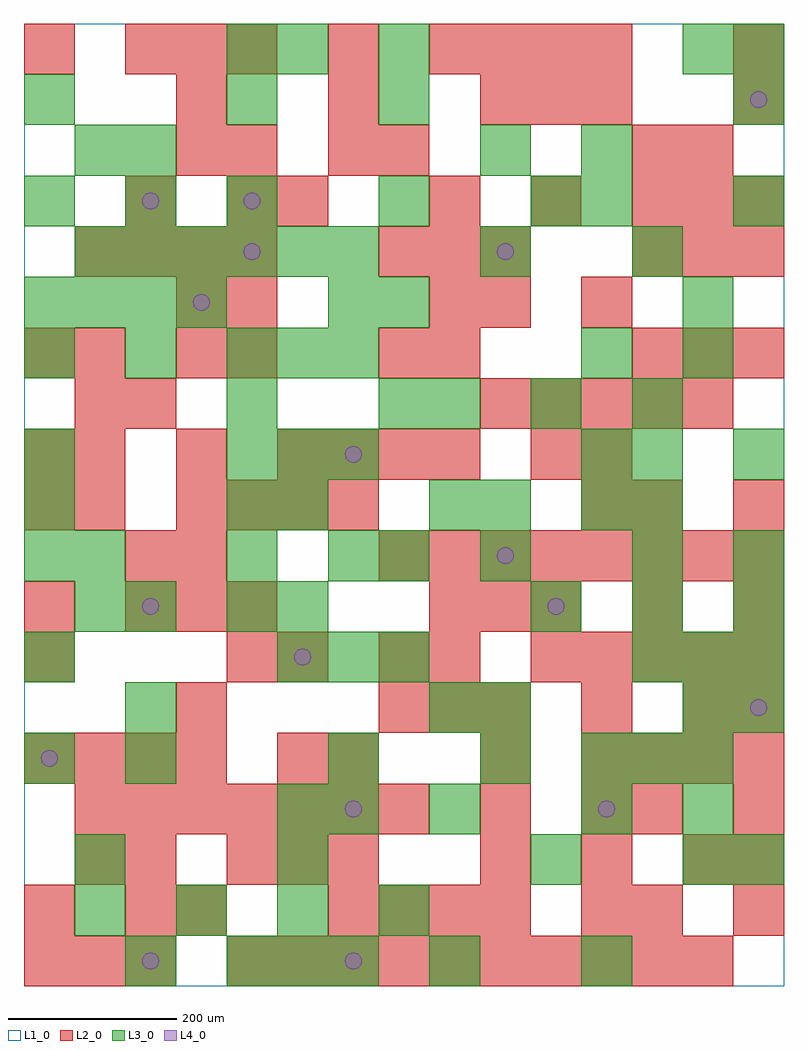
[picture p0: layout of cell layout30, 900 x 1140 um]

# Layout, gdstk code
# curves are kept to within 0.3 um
import gdstk
lib = gdstk.Library(unit=1e-6, precision=1e-09)
def R(c, l, rs):  # rectangles x0, y0, x1, y1
    for r in rs: c.add(gdstk.rectangle(r[:2], r[2:], *l))
def A(c, l, x, y, w, h, nx, ny, dx, dy):  # array of equal rectangles
    R(c, l, [(x+i*dx, y+j*dy, x+i*dx+w, y+j*dy+h) for i in range(nx) for j in range(ny)])
def P(c, l, *ps):  # polygons
    for p in ps: c.add(gdstk.Polygon(p, *l))
L1_0 = (1, 0)
L2_0 = (2, 0)
L3_0 = (3, 0)
L4_0 = (4, 0)

layout30 = lib.new_cell('layout30')
R(layout30, L1_0, [(0,0,900,1140)])
A(layout30, L2_0, 0, 0, 60, 60, 3, 1, 60, 0)
A(layout30, L2_0, 240, 0, 60, 60, 10, 1, 60, 0)
A(layout30, L2_0, 360, 60, 60, 60, 4, 1, 60, 0)
A(layout30, L2_0, 660, 60, 60, 60, 1, 3, 0, 120)
A(layout30, L2_0, 840, 60, 60, 60, 1, 3, 0, 60)
A(layout30, L2_0, 240, 120, 60, 60, 3, 1, 60, 0)
A(layout30, L2_0, 540, 120, 60, 60, 3, 1, 120, 0)
A(layout30, L2_0, 60, 180, 60, 60, 7, 1, 60, 0)
A(layout30, L2_0, 0, 240, 60, 60, 4, 1, 60, 0)
A(layout30, L2_0, 660, 240, 60, 60, 4, 1, 60, 0)
A(layout30, L2_0, 420, 300, 60, 60, 3, 2, 60, 540)
A(layout30, L2_0, 840, 300, 60, 60, 1, 3, 0, 120)
A(layout30, L2_0, 600, 360, 60, 60, 5, 1, 60, 0)
A(layout30, L2_0, 120, 420, 60, 60, 3, 2, 60, 660)
A(layout30, L2_0, 480, 420, 60, 60, 3, 1, 60, 0)
A(layout30, L2_0, 420, 480, 60, 60, 8, 1, 60, 0)
A(layout30, L2_0, 180, 540, 60, 60, 4, 1, 60, 0)
A(layout30, L2_0, 60, 600, 60, 60, 3, 1, 120, 0)
A(layout30, L2_0, 360, 600, 60, 60, 3, 1, 60, 0)
A(layout30, L2_0, 540, 660, 60, 60, 5, 1, 60, 0)
A(layout30, L2_0, 720, 720, 60, 60, 3, 2, 60, 120)
A(layout30, L2_0, 60, 840, 60, 60, 4, 1, 60, 0)
A(layout30, L2_0, 480, 900, 60, 60, 3, 1, 120, 0)
A(layout30, L2_0, 180, 1020, 60, 60, 3, 1, 180, 0)
A(layout30, L2_0, 480, 1080, 60, 60, 4, 1, 60, 0)
R(layout30, L2_0, [(0,60,60,120), (120,60,180,120), (180,60,240,120), (720,60,780,120), (60,120,120,180), (120,120,180,180), (540,180,600,240), (720,180,780,240), (300,240,360,300), (360,240,420,300), (540,240,600,300), (180,300,240,360), (780,300,840,360), (0,360,60,420), (240,360,300,420), (300,360,360,420), (420,360,480,420), (480,360,540,420), (0,420,60,480), (720,420,780,480), (120,480,180,540), (180,480,240,540), (0,540,60,600), (60,540,120,600), (660,540,720,600), (720,540,780,600), (0,600,60,660), (600,600,660,660), (660,600,720,660), (60,660,120,720), (120,660,180,720), (0,720,60,780), (60,720,120,780), (180,720,240,780), (240,720,300,780), (420,720,480,780), (480,720,540,780), (180,780,240,840), (240,780,300,840), (480,780,540,840), (540,780,600,840), (660,780,720,840), (120,900,180,960), (240,900,300,960), (300,900,360,960), (780,900,840,960), (840,900,900,960), (180,960,240,1020), (240,960,300,1020), (360,960,420,1020), (420,960,480,1020), (720,960,780,1020), (780,960,840,1020), (600,1020,660,1080), (660,1020,720,1080), (840,1020,900,1080), (0,1080,60,1140), (360,1080,420,1140), (840,1080,900,1140)])
A(layout30, L3_0, 240, 0, 60, 60, 3, 2, 60, 600)
A(layout30, L3_0, 60, 60, 60, 60, 4, 1, 120, 0)
A(layout30, L3_0, 840, 120, 60, 60, 1, 3, 0, 180)
A(layout30, L3_0, 0, 240, 60, 60, 1, 3, 0, 120)
A(layout30, L3_0, 360, 240, 60, 60, 1, 3, 0, 240)
A(layout30, L3_0, 660, 240, 60, 60, 3, 1, 60, 0)
A(layout30, L3_0, 300, 360, 60, 60, 3, 1, 60, 0)
A(layout30, L3_0, 720, 360, 60, 60, 3, 1, 60, 0)
A(layout30, L3_0, 240, 420, 60, 60, 1, 3, 0, 60)
A(layout30, L3_0, 600, 420, 60, 60, 3, 1, 120, 0)
A(layout30, L3_0, 720, 480, 60, 60, 1, 3, 0, 60)
A(layout30, L3_0, 420, 660, 60, 60, 1, 4, 0, 120)
A(layout30, L3_0, 480, 660, 60, 60, 3, 1, 120, 0)
A(layout30, L3_0, 0, 720, 60, 60, 3, 2, 120, 180)
A(layout30, L3_0, 0, 780, 60, 60, 4, 1, 60, 0)
A(layout30, L3_0, 60, 840, 60, 60, 6, 1, 60, 0)
R(layout30, L3_0, [(120,0,180,60), (480,0,540,60), (660,0,720,60), (60,120,120,180), (300,120,360,180), (600,120,660,180), (780,120,840,180), (300,180,360,240), (360,180,420,240), (480,180,540,240), (660,180,720,240), (780,180,840,240), (120,240,180,300), (540,240,600,300), (120,300,180,360), (480,300,540,360), (540,300,600,360), (780,300,840,360), (60,420,120,480), (120,420,180,480), (300,420,360,480), (60,480,120,540), (420,480,480,540), (540,480,600,540), (0,540,60,600), (300,540,360,600), (480,540,540,600), (540,540,600,600), (660,540,720,600), (0,600,60,660), (660,600,720,660), (840,600,900,660), (240,660,300,720), (300,720,360,780), (660,720,720,780), (780,720,840,780), (360,780,420,840), (780,780,840,840), (540,840,600,900), (720,840,780,900), (600,900,660,960), (660,900,720,960), (840,900,900,960), (60,960,120,1020), (120,960,180,1020), (540,960,600,1020), (660,960,720,1020), (0,1020,60,1080), (240,1020,300,1080), (840,1020,900,1080), (240,1080,300,1140), (300,1080,360,1140), (420,1080,480,1140), (780,1080,840,1140), (840,1080,900,1140)])
P(layout30, L4_0, [(40,270),(39.239,273.827),(37.071,277.071),(33.827,279.239),(30,280),(26.173,279.239),(22.929,277.071),(20.761,273.827),(20,270),(20.761,266.173),(22.929,262.929),(26.173,260.761),(30,260),(33.827,260.761),(37.071,262.929),(39.239,266.173)],
  [(160,30),(159.239,33.827),(157.071,37.071),(153.827,39.239),(150,40),(146.173,39.239),(142.929,37.071),(140.761,33.827),(140,30),(140.761,26.173),(142.929,22.929),(146.173,20.761),(150,20),(153.827,20.761),(157.071,22.929),(159.239,26.173)],
  [(160,450),(159.239,453.827),(157.071,457.071),(153.827,459.239),(150,460),(146.173,459.239),(142.929,457.071),(140.761,453.827),(140,450),(140.761,446.173),(142.929,442.929),(146.173,440.761),(150,440),(153.827,440.761),(157.071,442.929),(159.239,446.173)],
  [(160,930),(159.239,933.827),(157.071,937.071),(153.827,939.239),(150,940),(146.173,939.239),(142.929,937.071),(140.761,933.827),(140,930),(140.761,926.173),(142.929,922.929),(146.173,920.761),(150,920),(153.827,920.761),(157.071,922.929),(159.239,926.173)],
  [(220,810),(219.239,813.827),(217.071,817.071),(213.827,819.239),(210,820),(206.173,819.239),(202.929,817.071),(200.761,813.827),(200,810),(200.761,806.173),(202.929,802.929),(206.173,800.761),(210,800),(213.827,800.761),(217.071,802.929),(219.239,806.173)],
  [(280,870),(279.239,873.827),(277.071,877.071),(273.827,879.239),(270,880),(266.173,879.239),(262.929,877.071),(260.761,873.827),(260,870),(260.761,866.173),(262.929,862.929),(266.173,860.761),(270,860),(273.827,860.761),(277.071,862.929),(279.239,866.173)],
  [(280,930),(279.239,933.827),(277.071,937.071),(273.827,939.239),(270,940),(266.173,939.239),(262.929,937.071),(260.761,933.827),(260,930),(260.761,926.173),(262.929,922.929),(266.173,920.761),(270,920),(273.827,920.761),(277.071,922.929),(279.239,926.173)],
  [(340,390),(339.239,393.827),(337.071,397.071),(333.827,399.239),(330,400),(326.173,399.239),(322.929,397.071),(320.761,393.827),(320,390),(320.761,386.173),(322.929,382.929),(326.173,380.761),(330,380),(333.827,380.761),(337.071,382.929),(339.239,386.173)],
  [(400,30),(399.239,33.827),(397.071,37.071),(393.827,39.239),(390,40),(386.173,39.239),(382.929,37.071),(380.761,33.827),(380,30),(380.761,26.173),(382.929,22.929),(386.173,20.761),(390,20),(393.827,20.761),(397.071,22.929),(399.239,26.173)],
  [(400,210),(399.239,213.827),(397.071,217.071),(393.827,219.239),(390,220),(386.173,219.239),(382.929,217.071),(380.761,213.827),(380,210),(380.761,206.173),(382.929,202.929),(386.173,200.761),(390,200),(393.827,200.761),(397.071,202.929),(399.239,206.173)],
  [(400,630),(399.239,633.827),(397.071,637.071),(393.827,639.239),(390,640),(386.173,639.239),(382.929,637.071),(380.761,633.827),(380,630),(380.761,626.173),(382.929,622.929),(386.173,620.761),(390,620),(393.827,620.761),(397.071,622.929),(399.239,626.173)],
  [(580,510),(579.239,513.827),(577.071,517.071),(573.827,519.239),(570,520),(566.173,519.239),(562.929,517.071),(560.761,513.827),(560,510),(560.761,506.173),(562.929,502.929),(566.173,500.761),(570,500),(573.827,500.761),(577.071,502.929),(579.239,506.173)],
  [(580,870),(579.239,873.827),(577.071,877.071),(573.827,879.239),(570,880),(566.173,879.239),(562.929,877.071),(560.761,873.827),(560,870),(560.761,866.173),(562.929,862.929),(566.173,860.761),(570,860),(573.827,860.761),(577.071,862.929),(579.239,866.173)],
  [(640,450),(639.239,453.827),(637.071,457.071),(633.827,459.239),(630,460),(626.173,459.239),(622.929,457.071),(620.761,453.827),(620,450),(620.761,446.173),(622.929,442.929),(626.173,440.761),(630,440),(633.827,440.761),(637.071,442.929),(639.239,446.173)],
  [(700,210),(699.239,213.827),(697.071,217.071),(693.827,219.239),(690,220),(686.173,219.239),(682.929,217.071),(680.761,213.827),(680,210),(680.761,206.173),(682.929,202.929),(686.173,200.761),(690,200),(693.827,200.761),(697.071,202.929),(699.239,206.173)],
  [(880,330),(879.239,333.827),(877.071,337.071),(873.827,339.239),(870,340),(866.173,339.239),(862.929,337.071),(860.761,333.827),(860,330),(860.761,326.173),(862.929,322.929),(866.173,320.761),(870,320),(873.827,320.761),(877.071,322.929),(879.239,326.173)],
  [(880,1050),(879.239,1053.827),(877.071,1057.071),(873.827,1059.239),(870,1060),(866.173,1059.239),(862.929,1057.071),(860.761,1053.827),(860,1050),(860.761,1046.173),(862.929,1042.929),(866.173,1040.761),(870,1040),(873.827,1040.761),(877.071,1042.929),(879.239,1046.173)])

lib.write_gds('layout30.gds')
